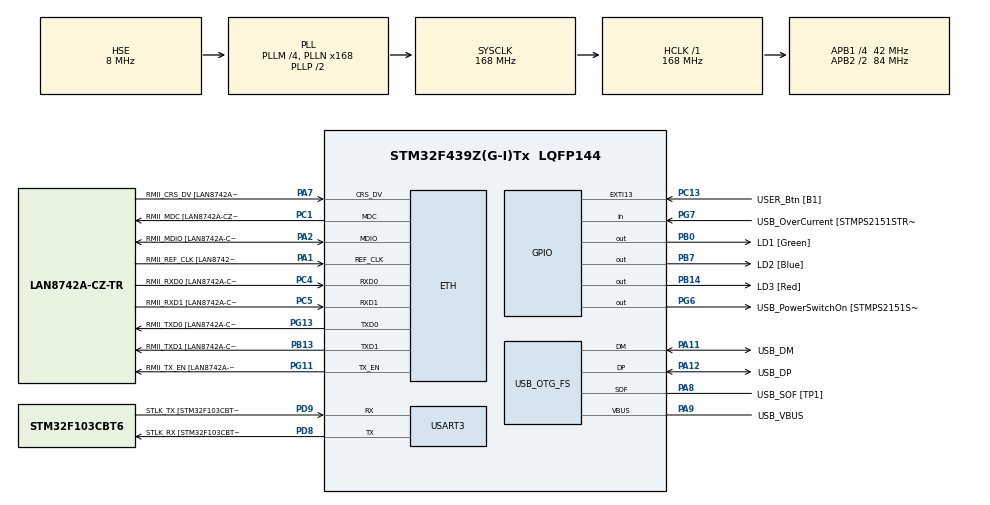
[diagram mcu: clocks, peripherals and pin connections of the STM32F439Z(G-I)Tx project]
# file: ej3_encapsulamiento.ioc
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ETH.MediaInterface=HAL_ETH_RMII_MODE
ETH.PHY_Name=LAN8742A_PHY_ADDRESS
ETH.PHY_Value=0
ETH.PhyAddress=0
Mcu.Family=STM32F4
Mcu.Name=STM32F439Z(G-I)Tx
Mcu.Package=LQFP144
NVIC.PriorityGroup=NVIC_PRIORITYGROUP_4
PA1.GPIO_Label=RMII_REF_CLK [LAN8742A-CZ-TR_REFCLK0]
PA1.Mode=RMII
PA1.Signal=ETH_REF_CLK
PA10.GPIO_Label=USB_ID
PA10.Signal=USB_OTG_FS_ID
PA11.GPIO_Label=USB_DM
PA11.Mode=Device_Only
PA11.Signal=USB_OTG_FS_DM
PA12.GPIO_Label=USB_DP
PA12.Mode=Device_Only
PA12.Signal=USB_OTG_FS_DP
PA13.GPIO_Label=TMS
PA13.Mode=Serial_Wire
PA13.Signal=SYS_JTMS-SWDIO
PA14.GPIO_Label=TCK
PA14.Mode=Serial_Wire
PA14.Signal=SYS_JTCK-SWCLK
PA2.GPIO_Label=RMII_MDIO [LAN8742A-CZ-TR_MDIO]
PA2.Mode=RMII
PA2.Signal=ETH_MDIO
PA7.GPIO_Label=RMII_CRS_DV [LAN8742A-CZ-TR_CRS_DV]
PA7.Mode=RMII
PA7.Signal=ETH_CRS_DV
PA8.GPIO_Label=USB_SOF [TP1]
PA8.Mode=Activate_SOF_FS
PA8.Signal=USB_OTG_FS_SOF
PA9.GPIO_Label=USB_VBUS
PA9.Mode=Activate_VBUS
PA9.Signal=USB_OTG_FS_VBUS
PB0.GPIO_Label=LD1 [Green]
PB0.Signal=GPIO_Output
PB13.GPIO_Label=RMII_TXD1 [LAN8742A-CZ-TR_TXD1]
PB13.Mode=RMII
PB13.Signal=ETH_TXD1
PB14.GPIO_Label=LD3 [Red]
PB14.Signal=GPIO_Output
PB7.GPIO_Label=LD2 [Blue]
PB7.Signal=GPIO_Output
PC1.GPIO_Label=RMII_MDC [LAN8742A-CZ-TR_MDC]
PC1.Mode=RMII
PC1.Signal=ETH_MDC
PC13.GPIO_Label=USER_Btn [B1]
PC13.Signal=GPXTI13
PC14/OSC32_IN.Mode=LSE-External-Oscillator
PC14/OSC32_IN.Signal=RCC_OSC32_IN
PC15/OSC32_OUT.Mode=LSE-External-Oscillator
PC15/OSC32_OUT.Signal=RCC_OSC32_OUT
PC4.GPIO_Label=RMII_RXD0 [LAN8742A-CZ-TR_RXD0]
PC4.Mode=RMII
PC4.Signal=ETH_RXD0
PC5.GPIO_Label=RMII_RXD1 [LAN8742A-CZ-TR_RXD1]
PC5.Mode=RMII
PC5.Signal=ETH_RXD1
PD8.GPIO_Label=STLK_RX [STM32F103CBT6_PA3]
PD8.Mode=Asynchronous
PD8.Signal=USART3_TX
PD9.GPIO_Label=STLK_TX [STM32F103CBT6_PA2]
PD9.Mode=Asynchronous
PD9.Signal=USART3_RX
PG11.GPIO_Label=RMII_TX_EN [LAN8742A-CZ-TR_TXEN]
PG11.Mode=RMII
PG11.Signal=ETH_TX_EN
PG13.GPIO_Label=RMII_TXD0 [LAN8742A-CZ-TR_TXD0]
PG13.Mode=RMII
PG13.Signal=ETH_TXD0
PG6.GPIO_Label=USB_PowerSwitchOn [STMPS2151STR_EN]
PG6.Signal=GPIO_Output
PG7.GPIO_Label=USB_OverCurrent [STMPS2151STR_FAULT]
PG7.Signal=GPIO_Input
PH0/OSC_IN.GPIO_Label=MCO [STM32F103CBT6_PA8]
PH0/OSC_IN.Mode=HSE-External-Clock-Source
PH0/OSC_IN.Signal=RCC_OSC_IN
PH1/OSC_OUT.Mode=HSE-External-Clock-Source
PH1/OSC_OUT.Signal=RCC_OSC_OUT
ProjectManager.HeapSize=0x200
ProjectManager.StackSize=0x400
ProjectManager.TargetToolchain=STM32CubeIDE
RCC.48MHZClocksFreq_Value=48000000
RCC.AHBFreq_Value=168000000
RCC.APB1CLKDivider=RCC_HCLK_DIV4
RCC.APB1Freq_Value=42000000
RCC.APB1TimFreq_Value=84000000
RCC.APB2CLKDivider=RCC_HCLK_DIV2
RCC.APB2Freq_Value=84000000
RCC.APB2TimCLKDivider=2
RCC.APB2TimFreq_Value=168000000
RCC.CortexFreq_Value=168000000
RCC.HCLKFreq_Value=168000000
RCC.HSE_VALUE=8000000
RCC.HSI_VALUE=16000000
RCC.PLLM=4
RCC.PLLMUL=RCC_PLL_MUL9
RCC.PLLN=168
RCC.PLLQ=7
RCC.PRESCALERUSB=RCC_USBCLKSOURCE_PLL_DIV1_5
RCC.SYSCLKFreq_VALUE=168000000
RCC.SYSCLKSource=RCC_SYSCLKSOURCE_PLLCLK
RCC.SYSCLKSourceVirtual=RCC_SYSCLKSOURCE_PLLCLK
RCC.USBFreq_Value=48000000
RCC.VCOOutputFreq_Value=336000000
USART3.VirtualMode=VM_ASYNC
USB_OTG_FS.VirtualMode=Device_Only
board=NUCLEO-F439ZI

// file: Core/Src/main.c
/* USER CODE BEGIN Header */
/**
  ******************************************************************************
  * @file           : main.c
  * @brief          : Main program body
  ******************************************************************************
  * @attention
  *
  * Copyright (c) 2023 STMicroelectronics.
  * All rights reserved.
  *
  * This software is licensed under terms that can be found in the LICENSE file
  * in the root directory of this software component.
  * If no LICENSE file comes with this software, it is provided AS-IS.
  *
  ******************************************************************************
  */
/* USER CODE END Header */
#include "main.h"
#include "string.h"

/* USER CODE BEGIN Includes */
#include "API_delay.h"
/* USER CODE END Includes */

ETH_TxPacketConfig TxConfig;
ETH_DMADescTypeDef  DMARxDscrTab[ETH_RX_DESC_CNT]; /* Ethernet Rx DMA Descriptors */
ETH_DMADescTypeDef  DMATxDscrTab[ETH_TX_DESC_CNT]; /* Ethernet Tx DMA Descriptors */

ETH_HandleTypeDef heth;

UART_HandleTypeDef huart3;

PCD_HandleTypeDef hpcd_USB_OTG_FS;

void SystemClock_Config(void);
static void MX_GPIO_Init(void);
static void MX_ETH_Init(void);
static void MX_USART3_UART_Init(void);
static void MX_USB_OTG_FS_PCD_Init(void);

int main(void)
{

  /* MCU Configuration--------------------------------------------------------*/

  /* Reset of all peripherals, Initializes the Flash interface and the Systick. */
  HAL_Init();

  /* Configure the system clock */
  SystemClock_Config();

  /* Initialize all configured peripherals */
  MX_GPIO_Init();
  MX_ETH_Init();
  MX_USART3_UART_Init();
  MX_USB_OTG_FS_PCD_Init();
  /* USER CODE BEGIN 2 */
  // Tengo un arreglo de tiempos de patron, y otro de la cantidad de veces que se repiten
  tick_t tiempos[] = {1000, 200, 100};
  uint8_t repeticiones[] = {5, 5, 5};
  // Contador e indice, para saber cuantas veces repeti, y que tiempo estoy repitiendo
  uint8_t contador = 0;
  uint8_t indice = 0;

  delay_t timer = {.startTime = 0,
                   .duration = 0,
                   .running = false};
  //Como tengo un duty cycle de 50%, hago un corrimiento del tiempo para que conmute cada medio tiempo
  delayInit(&timer,tiempos[indice]>>1);

  /* USER CODE END 2 */

  /* Infinite loop */
  while (1)
  {

    /* USER CODE BEGIN 3 */
	    if (delayRead(&timer)){
	        HAL_GPIO_TogglePin(LD2_GPIO_Port, LD2_Pin);
	        contador++;
	        // Cada indice repeticiones del toggle, corremos el indice y cambiamos la duracion.
	        // Para corregir la division del tiempo hago el corrimiento inverso, con las repeticiones
	        if (contador == repeticiones[indice]<<1){
	        	contador = 0;
	        	indice++;
	        	// El largo del array de repeticiones es 3. Cuando haya pasado por los 3 valores, vuelve a empezar
	        	if (indice == 3){
	        		indice = 0;
	        	}
	        	//Como tengo un duty cycle de 50%, hago un corrimiento del tiempo para que conmute cada medio tiempo
	        	delayWrite(&timer, tiempos[indice]>>1);
	        }
	    }
  }
  /* USER CODE END 3 */
}

void SystemClock_Config(void)
{
  RCC_OscInitTypeDef RCC_OscInitStruct = {0};
  RCC_ClkInitTypeDef RCC_ClkInitStruct = {0};

  /** Configure the main internal regulator output voltage
  */
  __HAL_RCC_PWR_CLK_ENABLE();
  __HAL_PWR_VOLTAGESCALING_CONFIG(PWR_REGULATOR_VOLTAGE_SCALE1);

  /** Initializes the RCC Oscillators according to the specified parameters
  * in the RCC_OscInitTypeDef structure.
  */
  RCC_OscInitStruct.OscillatorType = RCC_OSCILLATORTYPE_HSE;
  RCC_OscInitStruct.HSEState = RCC_HSE_BYPASS;
  RCC_OscInitStruct.PLL.PLLState = RCC_PLL_ON;
  RCC_OscInitStruct.PLL.PLLSource = RCC_PLLSOURCE_HSE;
  RCC_OscInitStruct.PLL.PLLM = 4;
  RCC_OscInitStruct.PLL.PLLN = 168;
  RCC_OscInitStruct.PLL.PLLP = RCC_PLLP_DIV2;
  RCC_OscInitStruct.PLL.PLLQ = 7;
  if (HAL_RCC_OscConfig(&RCC_OscInitStruct) != HAL_OK)
  {
    Error_Handler();
  }

  /** Initializes the CPU, AHB and APB buses clocks
  */
  RCC_ClkInitStruct.ClockType = RCC_CLOCKTYPE_HCLK|RCC_CLOCKTYPE_SYSCLK
                              |RCC_CLOCKTYPE_PCLK1|RCC_CLOCKTYPE_PCLK2;
  RCC_ClkInitStruct.SYSCLKSource = RCC_SYSCLKSOURCE_PLLCLK;
  RCC_ClkInitStruct.AHBCLKDivider = RCC_SYSCLK_DIV1;
  RCC_ClkInitStruct.APB1CLKDivider = RCC_HCLK_DIV4;
  RCC_ClkInitStruct.APB2CLKDivider = RCC_HCLK_DIV2;

  if (HAL_RCC_ClockConfig(&RCC_ClkInitStruct, FLASH_LATENCY_5) != HAL_OK)
  {
    Error_Handler();
  }
}

static void MX_ETH_Init(void)
{

   static uint8_t MACAddr[6];

  heth.Instance = ETH;
  MACAddr[0] = 0x00;
  MACAddr[1] = 0x80;
  MACAddr[2] = 0xE1;
  MACAddr[3] = 0x00;
  MACAddr[4] = 0x00;
  MACAddr[5] = 0x00;
  heth.Init.MACAddr = &MACAddr[0];
  heth.Init.MediaInterface = HAL_ETH_RMII_MODE;
  heth.Init.TxDesc = DMATxDscrTab;
  heth.Init.RxDesc = DMARxDscrTab;
  heth.Init.RxBuffLen = 1524;

  if (HAL_ETH_Init(&heth) != HAL_OK)
  {
    Error_Handler();
  }

  memset(&TxConfig, 0 , sizeof(ETH_TxPacketConfig));
  TxConfig.Attributes = ETH_TX_PACKETS_FEATURES_CSUM | ETH_TX_PACKETS_FEATURES_CRCPAD;
  TxConfig.ChecksumCtrl = ETH_CHECKSUM_IPHDR_PAYLOAD_INSERT_PHDR_CALC;
  TxConfig.CRCPadCtrl = ETH_CRC_PAD_INSERT;

}

static void MX_USART3_UART_Init(void)
{

  huart3.Instance = USART3;
  huart3.Init.BaudRate = 115200;
  huart3.Init.WordLength = UART_WORDLENGTH_8B;
  huart3.Init.StopBits = UART_STOPBITS_1;
  huart3.Init.Parity = UART_PARITY_NONE;
  huart3.Init.Mode = UART_MODE_TX_RX;
  huart3.Init.HwFlowCtl = UART_HWCONTROL_NONE;
  huart3.Init.OverSampling = UART_OVERSAMPLING_16;
  if (HAL_UART_Init(&huart3) != HAL_OK)
  {
    Error_Handler();
  }

}

static void MX_USB_OTG_FS_PCD_Init(void)
{

  hpcd_USB_OTG_FS.Instance = USB_OTG_FS;
  hpcd_USB_OTG_FS.Init.dev_endpoints = 4;
  hpcd_USB_OTG_FS.Init.speed = PCD_SPEED_FULL;
  hpcd_USB_OTG_FS.Init.dma_enable = DISABLE;
  hpcd_USB_OTG_FS.Init.phy_itface = PCD_PHY_EMBEDDED;
  hpcd_USB_OTG_FS.Init.Sof_enable = ENABLE;
  hpcd_USB_OTG_FS.Init.low_power_enable = DISABLE;
  hpcd_USB_OTG_FS.Init.lpm_enable = DISABLE;
  hpcd_USB_OTG_FS.Init.vbus_sensing_enable = ENABLE;
  hpcd_USB_OTG_FS.Init.use_dedicated_ep1 = DISABLE;
  if (HAL_PCD_Init(&hpcd_USB_OTG_FS) != HAL_OK)
  {
    Error_Handler();
  }

}

static void MX_GPIO_Init(void)
{
  GPIO_InitTypeDef GPIO_InitStruct = {0};

  /* GPIO Ports Clock Enable */
  __HAL_RCC_GPIOC_CLK_ENABLE();
  __HAL_RCC_GPIOH_CLK_ENABLE();
  __HAL_RCC_GPIOA_CLK_ENABLE();
  __HAL_RCC_GPIOB_CLK_ENABLE();
  __HAL_RCC_GPIOD_CLK_ENABLE();
  __HAL_RCC_GPIOG_CLK_ENABLE();

  /*Configure GPIO pin Output Level */
  HAL_GPIO_WritePin(GPIOB, LD1_Pin|LD3_Pin|LD2_Pin, GPIO_PIN_RESET);

  /*Configure GPIO pin Output Level */
  HAL_GPIO_WritePin(USB_PowerSwitchOn_GPIO_Port, USB_PowerSwitchOn_Pin, GPIO_PIN_RESET);

  /*Configure GPIO pin : USER_Btn_Pin */
  GPIO_InitStruct.Pin = USER_Btn_Pin;
  GPIO_InitStruct.Mode = GPIO_MODE_IT_RISING;
  GPIO_InitStruct.Pull = GPIO_NOPULL;
  HAL_GPIO_Init(USER_Btn_GPIO_Port, &GPIO_InitStruct);

  /*Configure GPIO pins : LD1_Pin LD3_Pin LD2_Pin */
  GPIO_InitStruct.Pin = LD1_Pin|LD3_Pin|LD2_Pin;
  GPIO_InitStruct.Mode = GPIO_MODE_OUTPUT_PP;
  GPIO_InitStruct.Pull = GPIO_NOPULL;
  GPIO_InitStruct.Speed = GPIO_SPEED_FREQ_LOW;
  HAL_GPIO_Init(GPIOB, &GPIO_InitStruct);

  /*Configure GPIO pin : USB_PowerSwitchOn_Pin */
  GPIO_InitStruct.Pin = USB_PowerSwitchOn_Pin;
  GPIO_InitStruct.Mode = GPIO_MODE_OUTPUT_PP;
  GPIO_InitStruct.Pull = GPIO_NOPULL;
  GPIO_InitStruct.Speed = GPIO_SPEED_FREQ_LOW;
  HAL_GPIO_Init(USB_PowerSwitchOn_GPIO_Port, &GPIO_InitStruct);

  /*Configure GPIO pin : USB_OverCurrent_Pin */
  GPIO_InitStruct.Pin = USB_OverCurrent_Pin;
  GPIO_InitStruct.Mode = GPIO_MODE_INPUT;
  GPIO_InitStruct.Pull = GPIO_NOPULL;
  HAL_GPIO_Init(USB_OverCurrent_GPIO_Port, &GPIO_InitStruct);

}

void Error_Handler(void)
{
  __disable_irq();
  while (1)
  {
  }
}
